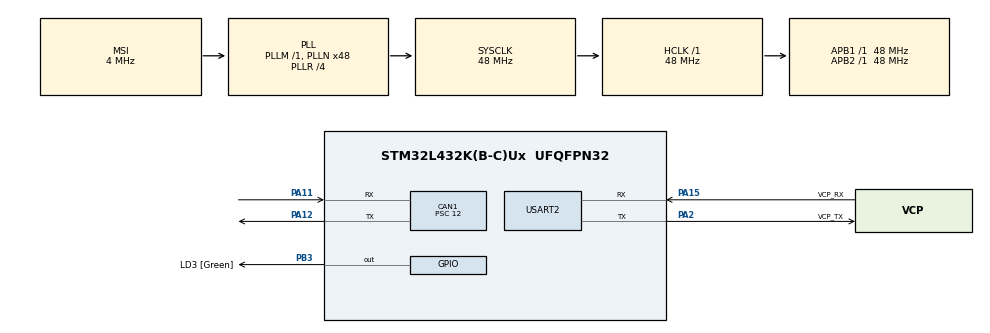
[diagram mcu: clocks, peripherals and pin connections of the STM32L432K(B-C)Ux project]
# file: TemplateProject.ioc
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CAN1.ABOM=ENABLE
CAN1.AWUM=ENABLE
CAN1.BS1=CAN_BS1_13TQ
CAN1.BS2=CAN_BS2_2TQ
CAN1.CalculateBaudRate=250000
CAN1.CalculateTimeBit=4000
CAN1.CalculateTimeQuantum=250.0
CAN1.NART=ENABLE
CAN1.Prescaler=12
Mcu.Family=STM32L4
Mcu.Name=STM32L432K(B-C)Ux
Mcu.Package=UFQFPN32
NVIC.CAN1_RX0_IRQn=true\:0\:0\:false\:false\:true\:true\:true\:true
NVIC.CAN1_RX1_IRQn=true\:0\:0\:false\:false\:true\:true\:true\:true
NVIC.CAN1_SCE_IRQn=true\:0\:0\:false\:false\:true\:true\:true\:true
NVIC.CAN1_TX_IRQn=true\:0\:0\:false\:false\:true\:true\:true\:true
NVIC.PriorityGroup=NVIC_PRIORITYGROUP_4
NVIC.TIM1_UP_TIM16_IRQn=true\:0\:0\:false\:false\:true\:true\:true\:true
PA11.Mode=CAN_Activate
PA11.Signal=CAN1_RX
PA12.Mode=CAN_Activate
PA12.Signal=CAN1_TX
PA13\ (JTMS-SWDIO).GPIO_Label=SWDIO
PA13\ (JTMS-SWDIO).Mode=Serial_Wire
PA13\ (JTMS-SWDIO).Signal=SYS_JTMS-SWDIO
PA14\ (JTCK-SWCLK).GPIO_Label=SWCLK
PA14\ (JTCK-SWCLK).Mode=Serial_Wire
PA14\ (JTCK-SWCLK).Signal=SYS_JTCK-SWCLK
PA15\ (JTDI).GPIO_Label=VCP_RX
PA15\ (JTDI).Mode=Asynchronous
PA15\ (JTDI).Signal=USART2_RX
PA2.GPIO_Label=VCP_TX
PA2.Mode=Asynchronous
PA2.Signal=USART2_TX
PB3\ (JTDO-TRACESWO).GPIO_Label=LD3 [Green]
PB3\ (JTDO-TRACESWO).Signal=GPIO_Output
PC14-OSC32_IN\ (PC14).Mode=LSE-External-Oscillator
PC14-OSC32_IN\ (PC14).Signal=RCC_OSC32_IN
PC15-OSC32_OUT\ (PC15).Mode=LSE-External-Oscillator
PC15-OSC32_OUT\ (PC15).Signal=RCC_OSC32_OUT
ProjectManager.HeapSize=0x200
ProjectManager.StackSize=0x400
ProjectManager.TargetToolchain=STM32CubeIDE
RCC.AHBFreq_Value=48000000
RCC.APB1Freq_Value=48000000
RCC.APB1TimFreq_Value=48000000
RCC.APB2Freq_Value=48000000
RCC.APB2TimFreq_Value=48000000
RCC.CortexFreq_Value=48000000
RCC.HCLKFreq_Value=48000000
RCC.HSE_VALUE=8000000
RCC.HSI16_VALUE=16000000
RCC.HSI48_VALUE=48000000
RCC.HSI_VALUE=16000000
RCC.MSI_VALUE=4000000
RCC.PLLMUL=RCC_PLLMUL_4
RCC.PLLN=48
RCC.PLLR=RCC_PLLR_DIV4
RCC.SYSCLKFreq_VALUE=48000000
RCC.SYSCLKSource=RCC_SYSCLKSOURCE_PLLCLK
RCC.VCOOutputFreq_Value=192000000
TIM16.Period=1000-1
TIM16.Prescaler=48-1
USART2.VirtualMode-Asynchronous=VM_ASYNC
VP_TIM16_VS_ClockSourceINT.Mode=Enable_Timer
board=NUCLEO-L432KC

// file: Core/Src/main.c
/* USER CODE BEGIN Header */
/**
  ******************************************************************************
  * @file           : main.c
  * @brief          : Main program body
  ******************************************************************************
  * @attention
  *
  * Copyright (c) 2024 STMicroelectronics.
  * All rights reserved.
  *
  * This software is licensed under terms that can be found in the LICENSE file
  * in the root directory of this software component.
  * If no LICENSE file comes with this software, it is provided AS-IS.
  *
  ******************************************************************************
  */
/* USER CODE END Header */
#include "main.h"

/* USER CODE BEGIN Includes */
#include "CO_app_STM32.h"
#include "OD.h"
/* USER CODE END Includes */

CAN_HandleTypeDef hcan1;

TIM_HandleTypeDef htim16;

UART_HandleTypeDef huart2;

void SystemClock_Config(void);
static void MX_GPIO_Init(void);
static void MX_USART2_UART_Init(void);
static void MX_CAN1_Init(void);
static void MX_TIM16_Init(void);

int main(void)
{

  /* MCU Configuration--------------------------------------------------------*/

  /* Reset of all peripherals, Initializes the Flash interface and the Systick. */
  HAL_Init();

  /* Configure the system clock */
  SystemClock_Config();

  /* Initialize all configured peripherals */
  MX_GPIO_Init();
  MX_USART2_UART_Init();
  MX_CAN1_Init();
  MX_TIM16_Init();
  /* USER CODE BEGIN 2 */
  CANopenNodeSTM32 canOpenNodeSTM32;
  canOpenNodeSTM32.CANHandle = &hcan1;
  canOpenNodeSTM32.HWInitFunction = MX_CAN1_Init;
  canOpenNodeSTM32.timerHandle = &htim16;
  canOpenNodeSTM32.desiredNodeID = 20;
  canOpenNodeSTM32.baudrate = 250;
  canopen_app_init(&canOpenNodeSTM32);
  /* USER CODE END 2 */

  /* Infinite loop */
  while (1)
  {

    /* USER CODE BEGIN 3 */
	  canopen_app_process();

#if 0
	  // Refresh the value of the variable and send the TPDO
	  OD_set_u32(OD_find(OD, 0x6000), 0X00, 0xDEADBEEF, false);
	  CO_TPDOsendRequest(&canOpenNodeSTM32.canOpenStack->TPDO[0]);
#else
	  // Only refresh the value of the variable, so it will send the
	  // TPDO only depending on the configuration of the TPDO (interval)
	  OD_PERSIST_COMM.x6000_mouvement_sensor += 1;
#endif

	  if (OD_PERSIST_COMM.x6001_LED > 0) {
		  HAL_GPIO_WritePin(LD3_GPIO_Port, LD3_Pin, GPIO_PIN_SET);
	  } else {
		  HAL_GPIO_WritePin(LD3_GPIO_Port, LD3_Pin, GPIO_PIN_RESET);
	  }
	  HAL_Delay(100);
  }
  /* USER CODE END 3 */
}

void SystemClock_Config(void)
{
  RCC_OscInitTypeDef RCC_OscInitStruct = {0};
  RCC_ClkInitTypeDef RCC_ClkInitStruct = {0};

  /** Configure the main internal regulator output voltage
  */
  if (HAL_PWREx_ControlVoltageScaling(PWR_REGULATOR_VOLTAGE_SCALE1) != HAL_OK)
  {
    Error_Handler();
  }

  /** Configure LSE Drive Capability
  */
  HAL_PWR_EnableBkUpAccess();
  __HAL_RCC_LSEDRIVE_CONFIG(RCC_LSEDRIVE_LOW);

  /** Initializes the RCC Oscillators according to the specified parameters
  * in the RCC_OscInitTypeDef structure.
  */
  RCC_OscInitStruct.OscillatorType = RCC_OSCILLATORTYPE_LSE|RCC_OSCILLATORTYPE_MSI;
  RCC_OscInitStruct.LSEState = RCC_LSE_ON;
  RCC_OscInitStruct.MSIState = RCC_MSI_ON;
  RCC_OscInitStruct.MSICalibrationValue = 0;
  RCC_OscInitStruct.MSIClockRange = RCC_MSIRANGE_6;
  RCC_OscInitStruct.PLL.PLLState = RCC_PLL_ON;
  RCC_OscInitStruct.PLL.PLLSource = RCC_PLLSOURCE_MSI;
  RCC_OscInitStruct.PLL.PLLM = 1;
  RCC_OscInitStruct.PLL.PLLN = 48;
  RCC_OscInitStruct.PLL.PLLP = RCC_PLLP_DIV7;
  RCC_OscInitStruct.PLL.PLLQ = RCC_PLLQ_DIV2;
  RCC_OscInitStruct.PLL.PLLR = RCC_PLLR_DIV4;
  if (HAL_RCC_OscConfig(&RCC_OscInitStruct) != HAL_OK)
  {
    Error_Handler();
  }

  /** Initializes the CPU, AHB and APB buses clocks
  */
  RCC_ClkInitStruct.ClockType = RCC_CLOCKTYPE_HCLK|RCC_CLOCKTYPE_SYSCLK
                              |RCC_CLOCKTYPE_PCLK1|RCC_CLOCKTYPE_PCLK2;
  RCC_ClkInitStruct.SYSCLKSource = RCC_SYSCLKSOURCE_PLLCLK;
  RCC_ClkInitStruct.AHBCLKDivider = RCC_SYSCLK_DIV1;
  RCC_ClkInitStruct.APB1CLKDivider = RCC_HCLK_DIV1;
  RCC_ClkInitStruct.APB2CLKDivider = RCC_HCLK_DIV1;

  if (HAL_RCC_ClockConfig(&RCC_ClkInitStruct, FLASH_LATENCY_2) != HAL_OK)
  {
    Error_Handler();
  }

  /** Enable MSI Auto calibration
  */
  HAL_RCCEx_EnableMSIPLLMode();
}

static void MX_CAN1_Init(void)
{

  hcan1.Instance = CAN1;
  hcan1.Init.Prescaler = 12;
  hcan1.Init.Mode = CAN_MODE_NORMAL;
  hcan1.Init.SyncJumpWidth = CAN_SJW_1TQ;
  hcan1.Init.TimeSeg1 = CAN_BS1_13TQ;
  hcan1.Init.TimeSeg2 = CAN_BS2_2TQ;
  hcan1.Init.TimeTriggeredMode = DISABLE;
  hcan1.Init.AutoBusOff = ENABLE;
  hcan1.Init.AutoWakeUp = ENABLE;
  hcan1.Init.AutoRetransmission = ENABLE;
  hcan1.Init.ReceiveFifoLocked = DISABLE;
  hcan1.Init.TransmitFifoPriority = DISABLE;
  if (HAL_CAN_Init(&hcan1) != HAL_OK)
  {
    Error_Handler();
  }

}

static void MX_TIM16_Init(void)
{

  htim16.Instance = TIM16;
  htim16.Init.Prescaler = 48-1;
  htim16.Init.CounterMode = TIM_COUNTERMODE_UP;
  htim16.Init.Period = 1000-1;
  htim16.Init.ClockDivision = TIM_CLOCKDIVISION_DIV1;
  htim16.Init.RepetitionCounter = 0;
  htim16.Init.AutoReloadPreload = TIM_AUTORELOAD_PRELOAD_DISABLE;
  if (HAL_TIM_Base_Init(&htim16) != HAL_OK)
  {
    Error_Handler();
  }

}

static void MX_USART2_UART_Init(void)
{

  huart2.Instance = USART2;
  huart2.Init.BaudRate = 115200;
  huart2.Init.WordLength = UART_WORDLENGTH_8B;
  huart2.Init.StopBits = UART_STOPBITS_1;
  huart2.Init.Parity = UART_PARITY_NONE;
  huart2.Init.Mode = UART_MODE_TX_RX;
  huart2.Init.HwFlowCtl = UART_HWCONTROL_NONE;
  huart2.Init.OverSampling = UART_OVERSAMPLING_16;
  huart2.Init.OneBitSampling = UART_ONE_BIT_SAMPLE_DISABLE;
  huart2.AdvancedInit.AdvFeatureInit = UART_ADVFEATURE_NO_INIT;
  if (HAL_UART_Init(&huart2) != HAL_OK)
  {
    Error_Handler();
  }

}

static void MX_GPIO_Init(void)
{
  GPIO_InitTypeDef GPIO_InitStruct = {0};

  /* GPIO Ports Clock Enable */
  __HAL_RCC_GPIOC_CLK_ENABLE();
  __HAL_RCC_GPIOA_CLK_ENABLE();
  __HAL_RCC_GPIOB_CLK_ENABLE();

  /*Configure GPIO pin Output Level */
  HAL_GPIO_WritePin(LD3_GPIO_Port, LD3_Pin, GPIO_PIN_RESET);

  /*Configure GPIO pin : LD3_Pin */
  GPIO_InitStruct.Pin = LD3_Pin;
  GPIO_InitStruct.Mode = GPIO_MODE_OUTPUT_PP;
  GPIO_InitStruct.Pull = GPIO_NOPULL;
  GPIO_InitStruct.Speed = GPIO_SPEED_FREQ_LOW;
  HAL_GPIO_Init(LD3_GPIO_Port, &GPIO_InitStruct);

}

/* USER CODE BEGIN 4 */
void HAL_TIM_PeriodElapsedCallback(TIM_HandleTypeDef *htim) {
	  // Handle CANOpen app interrupts
	  if (htim == canopenNodeSTM32->timerHandle) {
	      canopen_app_interrupt();
	  }
}
/* USER CODE END 4 */

void Error_Handler(void)
{
  __disable_irq();
  while (1)
  {
  }
}
